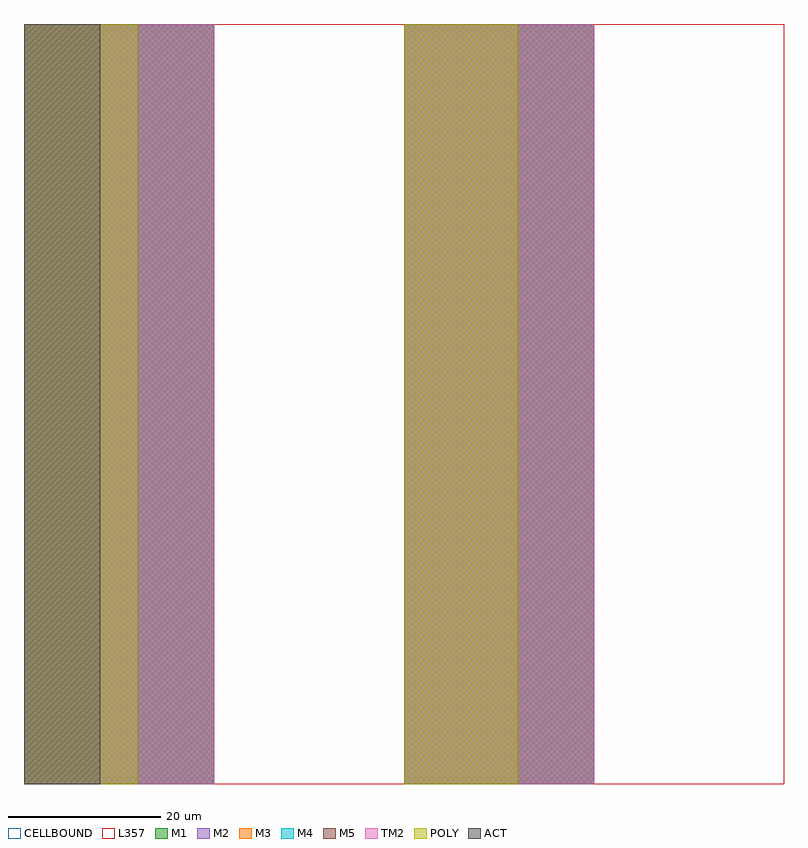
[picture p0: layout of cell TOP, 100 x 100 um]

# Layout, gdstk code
import gdstk
lib = gdstk.Library(unit=1e-6, precision=1e-09)
def R(c, l, rs):  # rectangles x0, y0, x1, y1
    for r in rs: c.add(gdstk.rectangle(r[:2], r[2:], *l))
ACT = (2, 1)
POLY = (41, 1)
M1 = (81, 1)
M2 = (82, 1)
M3 = (83, 1)
M4 = (84, 1)
M5 = (85, 1)
TM2 = (103, 1)
CELLBOUND = (351, 12)
L357 = (357, 12)

top = lib.new_cell('TOP')
R(top, ACT, [(0,0,10,100)])
R(top, POLY, [(0,0,15,100), (50,0,65,100)])
R(top, M1, [(0,0,25,100), (50,0,75,100)])
R(top, M2, [(0,0,25,100), (50,0,75,100)])
R(top, M3, [(0,0,25,100), (50,0,75,100)])
R(top, M4, [(0,0,25,100), (50,0,75,100)])
R(top, M5, [(0,0,25,100), (50,0,75,100)])
R(top, TM2, [(0,0,25,100), (50,0,75,100)])
R(top, CELLBOUND, [(0,0,100,100)])
R(top, L357, [(0,0,100,100)])

lib.write_gds('TOP.gds')
